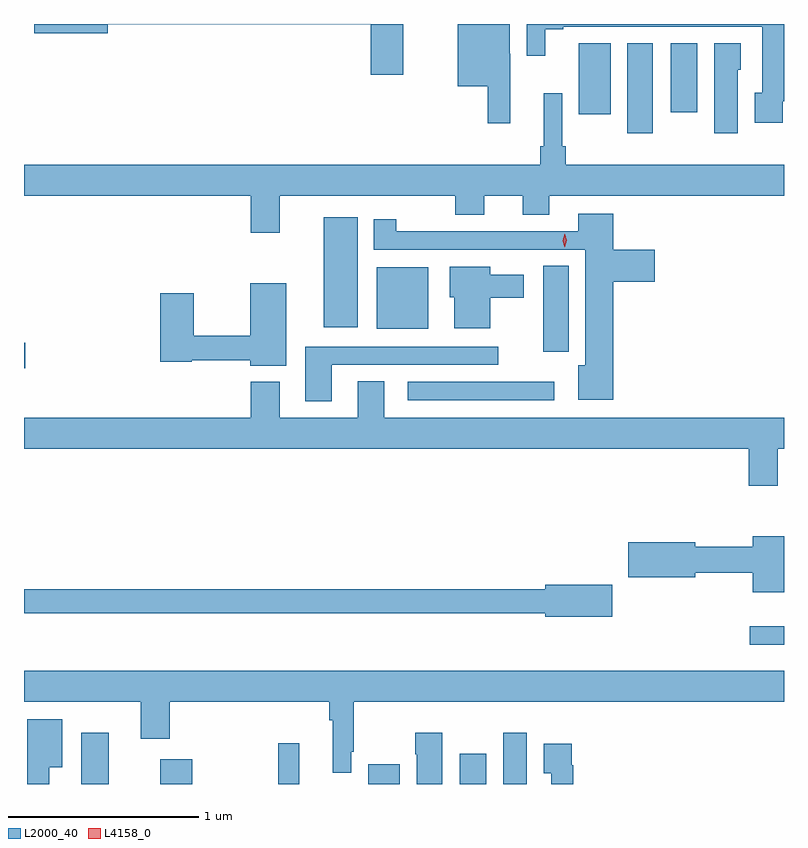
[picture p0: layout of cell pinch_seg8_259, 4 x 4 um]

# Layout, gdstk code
import gdstk
lib = gdstk.Library(unit=1e-6, precision=1e-09)
def R(c, l, rs):  # rectangles x0, y0, x1, y1
    for r in rs: c.add(gdstk.rectangle(r[:2], r[2:], *l))
def P(c, l, *ps):  # polygons
    for p in ps: c.add(gdstk.Polygon(p, *l))
L2000_40 = (2000, 40)
L4158_0 = (4158, 0)

pinch_seg8_259 = lib.new_cell('pinch_seg8_259')
R(pinch_seg8_259, L2000_40, [(495.476,1145.372,495.619,1145.641), (495.89,1145.372,496.06,1145.503), (496.512,1145.372,496.622,1145.587), (496.985,1145.372,497.152,1145.476), (497.468,1145.372,497.608,1145.53), (497.696,1145.372,497.821,1145.641), (498.993,1146.104,499.174,1146.201), (497.193,1147.392,497.965,1147.488), (495.174,1147.559,495.181,1147.694), (497.906,1147.647,498.04,1148.099), (497.03,1147.769,497.302,1148.092), (496.751,1147.775,496.93,1148.356), (498.35,1148.796,498.484,1149.272), (498.095,1148.898,498.262,1149.272), (498.578,1148.907,498.718,1149.272)])
P(pinch_seg8_259, L2000_40, [(497.17,1149.372),(495.228,1149.372),(495.228,1149.323),(495.616,1149.323),(495.616,1149.37),(497,1149.37),(497,1149.105),(497.17,1149.105)],
  [(499.168,1148.965),(499.174,1148.965),(499.174,1149.372),(497.82,1149.372),(497.82,1149.204),(497.917,1149.204),(497.917,1149.345),(498.013,1149.345),(498.013,1149.357),(499.059,1149.357),(499.059,1149.009),(499.019,1149.009),(499.019,1148.853),(499.168,1148.853)],
  [(497.732,1149.216),(497.73,1149.216),(497.73,1149.372),(497.456,1149.372),(497.456,1149.044),(497.614,1149.044),(497.614,1148.85),(497.732,1148.85)],
  [(498.931,1149.132),(498.946,1149.132),(498.946,1149.272),(498.806,1149.272),(498.806,1148.796),(498.931,1148.796)],
  [(496.519,1148.468),(497.444,1148.468),(497.444,1148.369),(497.596,1148.369),(497.596,1148.468),(497.798,1148.468),(497.798,1148.369),(497.938,1148.369),(497.938,1148.468),(499.174,1148.468),(499.174,1148.632),(498.026,1148.632),(498.026,1148.728),(498.006,1148.728),(498.006,1149.007),(497.909,1149.007),(497.909,1148.728),(497.89,1148.728),(497.89,1148.632),(495.174,1148.632),(495.174,1148.468),(496.367,1148.468),(496.367,1148.274),(496.519,1148.274)],
  [(498.275,1148.015),(498.493,1148.015),(498.493,1148.185),(498.275,1148.185),(498.275,1148.374),(498.092,1148.374),(498.092,1148.28),(497.36,1148.28),(497.36,1148.282),(497.133,1148.282),(497.133,1148.344),(497.015,1148.344),(497.015,1148.184),(498.128,1148.184),(498.128,1147.576),(498.092,1147.576),(498.092,1147.394),(498.275,1147.394)],
  [(497.629,1147.931),(497.803,1147.931),(497.803,1148.053),(497.629,1148.053),(497.629,1148.095),(497.414,1148.095),(497.414,1147.935),(497.438,1147.935),(497.438,1147.772),(497.629,1147.772)],
  [(496.555,1148.008),(496.364,1148.008),(496.364,1147.73),(496.068,1147.73),(496.068,1147.954),(495.89,1147.954),(495.89,1147.594),(496.056,1147.594),(496.056,1147.602),(496.364,1147.602),(496.364,1147.574),(496.555,1147.574)],
  [(496.795,1147.578),(497.671,1147.578),(497.671,1147.674),(496.655,1147.674),(496.655,1147.386),(496.795,1147.386)],
  [(499.141,1147.136),(499.174,1147.136),(499.174,1147.3),(497.071,1147.3),(497.071,1147.493),(496.931,1147.493),(496.931,1147.3),(496.519,1147.3),(496.519,1147.489),(496.367,1147.489),(496.367,1147.3),(495.174,1147.3),(495.174,1147.136),(498.989,1147.136),(498.989,1146.942),(499.141,1146.942)],
  [(499.174,1146.676),(499.01,1146.676),(499.01,1146.62),(498.706,1146.62),(498.706,1146.644),(498.354,1146.644),(498.354,1146.461),(498.706,1146.461),(498.706,1146.484),(499.01,1146.484),(499.01,1146.38),(499.174,1146.38)],
  [(498.271,1146.422),(497.918,1146.422),(497.918,1146.398),(495.174,1146.398),(495.174,1146.27),(497.918,1146.27),(497.918,1146.251),(498.271,1146.251)],
  [(496.896,1145.542),(496.909,1145.542),(496.909,1145.804),(499.174,1145.804),(499.174,1145.968),(495.174,1145.968),(495.174,1145.804),(495.788,1145.804),(495.788,1145.61),(495.941,1145.61),(495.941,1145.804),(496.78,1145.804),(496.78,1145.708),(496.799,1145.708),(496.799,1145.43),(496.896,1145.43)],
  [(495.307,1145.459),(495.376,1145.459),(495.376,1145.713),(495.191,1145.713),(495.191,1145.372),(495.307,1145.372)],
  [(497.374,1145.641),(497.233,1145.641),(497.233,1145.528),(497.24,1145.528),(497.24,1145.372),(497.374,1145.372)],
  [(498.065,1145.471),(498.058,1145.471),(498.058,1145.584),(497.909,1145.584),(497.909,1145.428),(497.949,1145.428),(497.949,1145.372),(498.065,1145.372)])
P(pinch_seg8_259, L4158_0, [(498.021,1148.197),(498.021,1148.197),(498.01,1148.232),(498.019,1148.268),(498.019,1148.269),(498.02,1148.268),(498.03,1148.233),(498.021,1148.197)])

lib.write_gds('pinch_seg8_259.gds')
